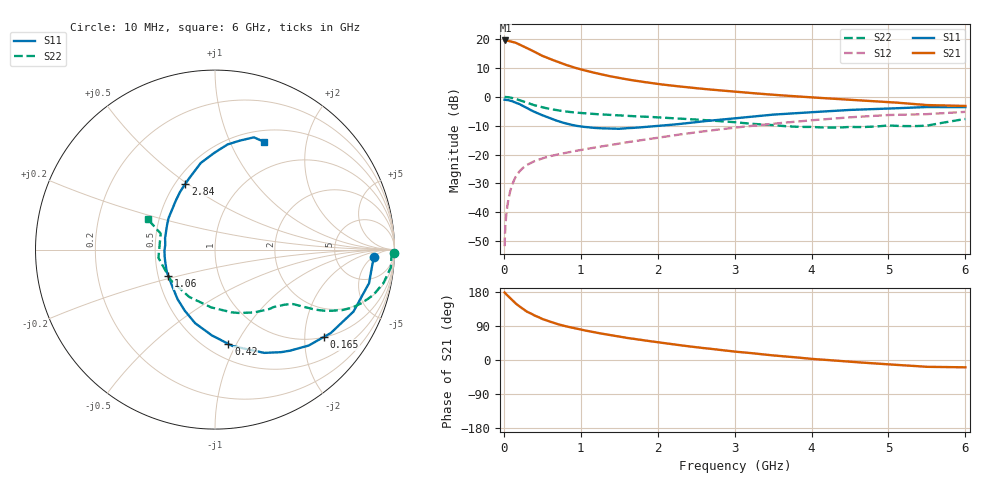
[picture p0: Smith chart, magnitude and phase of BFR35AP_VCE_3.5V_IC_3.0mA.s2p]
! Infineon Technologies  Discrete & RF Semiconductors
! BFR35AP
! VCE =  3.5 V,  IC =  3.0 mA
! Common Emitter S-Parameters:  Nov 2015
# GHz  S  MA  R  50
!  f  S11  S21  S12  S22
! GHz  MAG  ANG  MAG  ANG  MAG  ANG  MAG  ANG
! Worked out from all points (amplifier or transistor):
!   210 points, 10 MHz to 6 GHz, reference 50 ohm
!   highest |S21| = 19.4 dB at 20 MHz (marker M1)
!   |S21| within 3 dB of that: start of sweep to 329.8 MHz
!   unconditionally stable (mu >= 1): 990.5 MHz to 3.638 GHz
!   at 185 MHz: K = 0.28, MSG = 22.4 dB, |S12| = -26.5 dB
!   at 1.52 GHz: K = 1.14, MAG = 9.0 dB, |S12| = -16.1 dB
!   at 6 GHz: K = 0.97, MSG = 1.0 dB, |S12| = -5.2 dB
!   S11 on the Smith chart (normalised r, x): 10 MHz: 15, -5; 165 MHz: 1.01, -2.49; 420 MHz: 0.63, -0.93; 1.06 GHz: 0.57, -0.18; 2.84 GHz: 0.56, +0.49; 6 GHz: 0.63, +1.35
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0.01  0.8876 -2.5  9.277 178.1  0.0026 87.5  0.997 -1.1
0.02  0.8809 -5.2  9.377 175.7  0.0058 87.3  0.9834 -2.3
0.05  0.8784 -12.3  9.31 169.7  0.0141 82.9  0.9847 -5.8
0.1  0.8454 -24.1  8.95 160.1  0.028 76.8  0.9578 -11.1
0.15  0.7951 -35.8  8.609 149.8  0.0402 70.9  0.9174 -16.0
0.165  0.7783 -38.6  8.418 147.6  0.0432 69.1  0.9037 -17.1
0.24  0.7014 -53.4  7.561 135.9  0.0572 62.3  0.8384 -22.3
0.3  0.6375 -64.5  6.955 127.6  0.066 58.7  0.7858 -25.4
0.42  0.5305 -81.9  5.777 115.8  0.0786 53.7  0.6982 -29.2
0.5  0.4783 -92.1  5.086 108.3  0.0857 51.8  0.6539 -30.8
0.6  0.4248 -105.1  4.49 101.0  0.0935 50.2  0.6142 -32.0
0.7  0.3799 -116.3  4.003 94.7  0.1 50.0  0.5808 -33.0
0.8  0.3467 -126.8  3.574 89.2  0.1065 49.7  0.5554 -33.9
1.02  0.3028 -146.7  2.917 79.3  0.1209 50.2  0.5198 -35.7
1.06  0.2987 -150.7  2.828 77.8  0.1236 50.3  0.5149 -36.2
1.4  0.2818 -179.0  2.229 65.0  0.1467 50.9  0.4827 -40.2
2.02  0.314 144.7  1.648 46.4  0.1978 50.9  0.4382 -50.2
2.84  0.4025 114.2  1.274 26.0  0.275 46.3  0.3756 -69.9
3.1  0.4342 107.6  1.191 20.4  0.3008 43.8  0.3513 -78.4
4.1  0.5485 88.9  0.954 1.6  0.3999 32.7  0.2948 -124.1
5.1  0.6302 75.8  0.79 -12.8  0.4845 18.4  0.3132 -176.6
6  0.6599 65.6  0.691 -19.3  0.5464 7.6  0.4114 155.6
